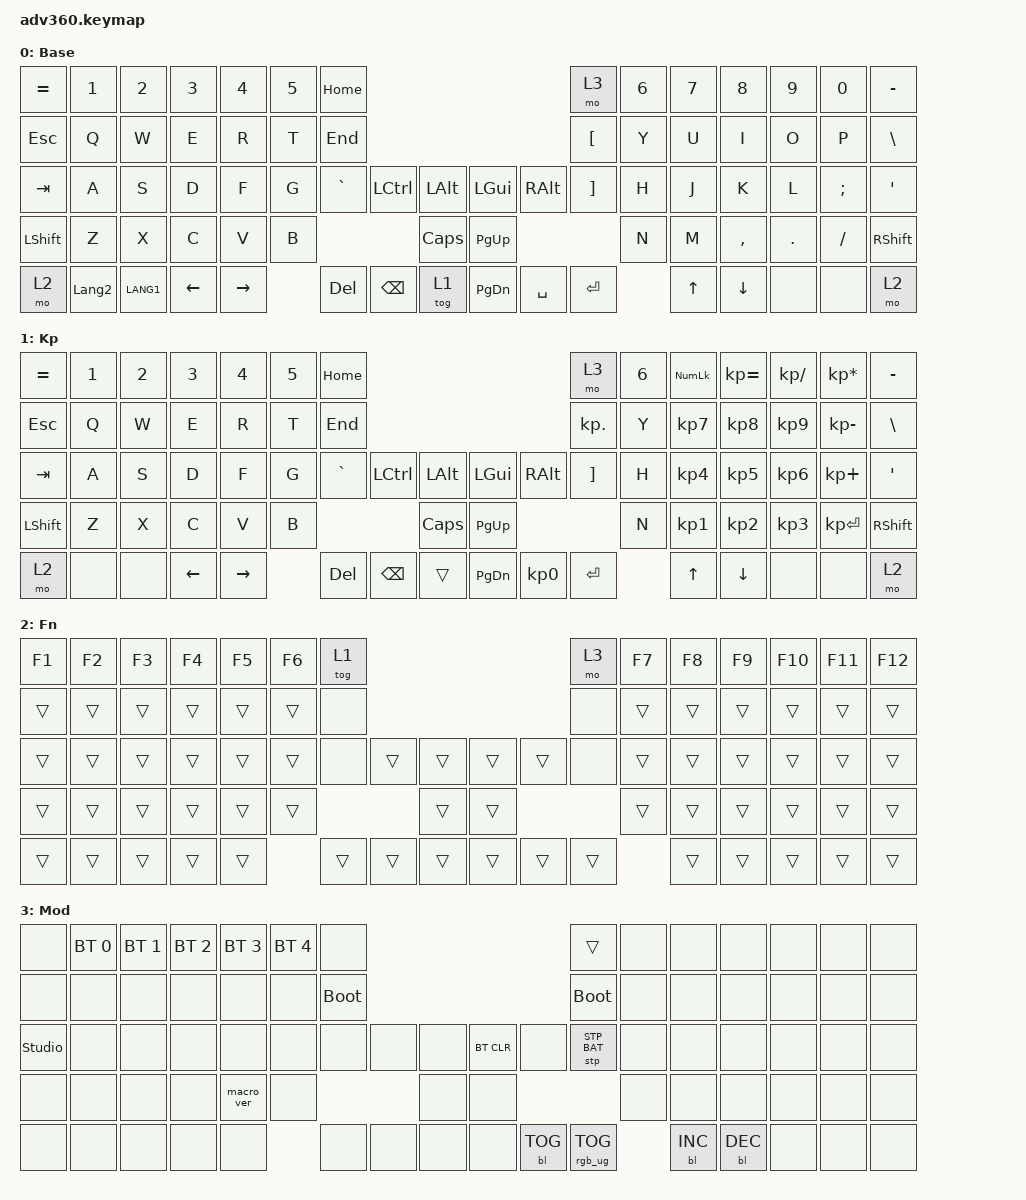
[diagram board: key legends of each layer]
#include <dt-bindings/zmk/stp.h>
#include <behaviors.dtsi>
#include <dt-bindings/zmk/backlight.h>
#include <dt-bindings/zmk/bt.h>
#include <dt-bindings/zmk/keys.h>
#include <dt-bindings/zmk/rgb.h>

/ {
    behaviors {
        #include "macros.dtsi"
      #include "version.dtsi"

        hm: homerow_mods {
            compatible = "zmk,behavior-hold-tap";
            label = "HOMEROW_MODS";
            #binding-cells = <2>;
            tapping-term-ms = <200>;
            quick_tap_ms = <175>;
            flavor = "tap-preferred";
            bindings = <&kp>, <&kp>;
        };
    };

    keymap {
        compatible = "zmk,keymap";

        default_layer {
            display-name = "Base";
            bindings = <
&kp EQUAL  &kp N1          &kp N2     &kp N3    &kp N4     &kp N5  &kp HOME                                                           &mo 3      &kp N6  &kp N7  &kp N8     &kp N9   &kp N0    &kp MINUS
&kp ESC    &kp Q           &kp W      &kp E     &kp R      &kp T   &kp END                                                            &kp LBKT   &kp Y   &kp U   &kp I      &kp O    &kp P     &kp BSLH
&kp TAB    &kp A           &kp S      &kp D     &kp F      &kp G   &kp GRAVE   &kp LCTRL      &kp LALT      &kp LGUI   &kp RIGHT_ALT  &kp RBKT   &kp H   &kp J   &kp K      &kp L    &kp SEMI  &kp SQT
&kp LSHFT  &kp Z           &kp X      &kp C     &kp V      &kp B                              &kp CAPS      &kp PG_UP                            &kp N   &kp M   &kp COMMA  &kp DOT  &kp FSLH  &kp RSHFT
&mo 2      &kp LANGUAGE_2  &kp LANG1  &kp LEFT  &kp RIGHT          &kp DELETE  &kp BACKSPACE  &tog 1        &kp PG_DN  &kp SPACE      &kp ENTER          &kp UP  &kp DOWN   &none    &none     &mo 2
            >;
        };

        keypad {
            display-name = "Kp";
            bindings = <
&kp EQUAL  &kp N1  &kp N2  &kp N3    &kp N4     &kp N5  &kp HOME                                                           &mo 3       &kp N6  &kp KP_NUM  &kp KP_EQUAL  &kp KP_DIVIDE  &kp KP_MULTIPLY  &kp MINUS
&kp ESC    &kp Q   &kp W   &kp E     &kp R      &kp T   &kp END                                                            &kp KP_DOT  &kp Y   &kp KP_N7   &kp KP_N8     &kp KP_N9      &kp KP_MINUS     &kp BSLH
&kp TAB    &kp A   &kp S   &kp D     &kp F      &kp G   &kp GRAVE   &kp LCTRL      &kp LALT      &kp LGUI   &kp RIGHT_ALT  &kp RBKT    &kp H   &kp KP_N4   &kp KP_N5     &kp KP_N6      &kp KP_PLUS      &kp SQT
&kp LSHFT  &kp Z   &kp X   &kp C     &kp V      &kp B                              &kp CAPS      &kp PG_UP                             &kp N   &kp KP_N1   &kp KP_N2     &kp KP_N3      &kp KP_ENTER     &kp RSHFT
&mo 2      &none   &none   &kp LEFT  &kp RIGHT          &kp DELETE  &kp BACKSPACE  &trans        &kp PG_DN  &kp KP_N0      &kp ENTER           &kp UP      &kp DOWN      &none          &none            &mo 2
            >;
        };

        fn {
            display-name = "Fn";
            bindings = <
&kp F1  &kp F2  &kp F3  &kp F4  &kp F5  &kp F6  &tog 1                                      &mo 3   &kp F7  &kp F8  &kp F9  &kp F10  &kp F11  &kp F12
&trans  &trans  &trans  &trans  &trans  &trans  &none                                       &none   &trans  &trans  &trans  &trans   &trans   &trans
&trans  &trans  &trans  &trans  &trans  &trans  &none   &trans  &trans      &trans  &trans  &none   &trans  &trans  &trans  &trans   &trans   &trans
&trans  &trans  &trans  &trans  &trans  &trans                  &trans      &trans                  &trans  &trans  &trans  &trans   &trans   &trans
&trans  &trans  &trans  &trans  &trans          &trans  &trans  &trans      &trans  &trans  &trans          &trans  &trans  &trans   &trans   &trans
            >;
        };

        mod {
            display-name = "Mod";
            bindings = <
&none           &bt BT_SEL 0  &bt BT_SEL 1  &bt BT_SEL 2  &bt BT_SEL 3  &bt BT_SEL 4  &none                                                  &trans           &none  &none       &none       &none  &none  &none
&none           &none         &none         &none         &none         &none         &bootloader                                            &bootloader      &none  &none       &none       &none  &none  &none
&studio_unlock  &none         &none         &none         &none         &none         &none        &none  &none      &bt BT_CLR  &none       &stp STP_BAT     &none  &none       &none       &none  &none  &none
&none           &none         &none         &none         &macro_ver    &none                             &none      &none                                    &none  &none       &none       &none  &none  &none
&none           &none         &none         &none         &none                       &none        &none  &none      &none       &bl BL_TOG  &rgb_ug RGB_TOG         &bl BL_INC  &bl BL_DEC  &none  &none  &none
            >;
        };

        extra1 {
            display-name = "Red";
            status = "reserved";
        };

        extra2 {
            display-name = "Purple";
            status = "reserved";
        };

        extra3 {
            display-name = "Cyan";
            status = "reserved";
        };

        extra4 {
            display-name = "Yellow";
            status = "reserved";
        };
    };
};
